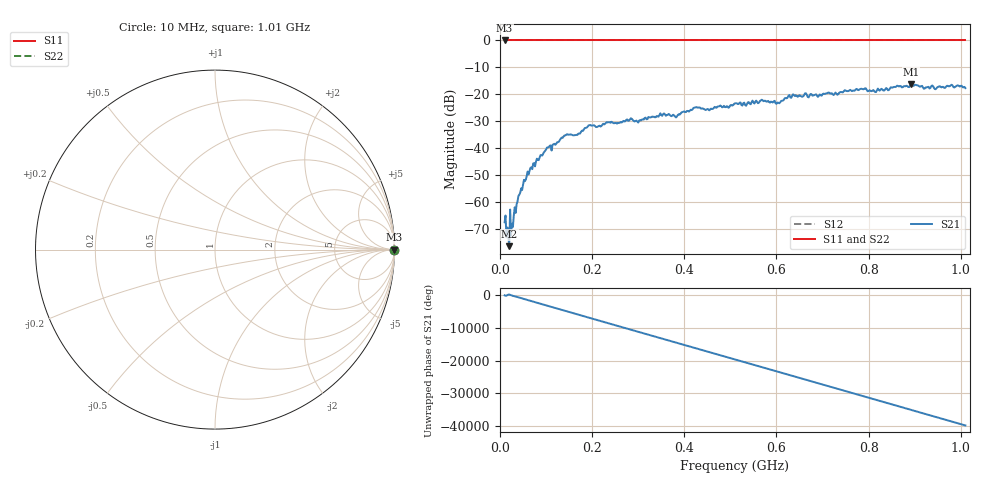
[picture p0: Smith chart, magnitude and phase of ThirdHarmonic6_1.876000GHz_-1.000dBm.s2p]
! 8/16/2025 10:40:22 PM
! C:\ANRITSUVNA\TEMP\TEMP.S2P
! CHANNEL.1
! TR.MEASUREMENT
! RAW.DATA
! RF.CORRECTION.OFF
! AVERAGING.OFF
! IF.BANDWIDTH: 5KHZ
! SWEEPTYPE:  FREQ.SWEEP(Linear)
! Reference Plane Port Info
! PORT:  PORT1  PORT2
! DISTANCE:  0  m  0  m
! TIME:  0  s  0  s
! PHASE.OFFSET:  0  deg.  0  deg.
! LOSS:  0  dB  0  dB
! REF.LOSS:  0  dB  0  dB
! REF.FREQ:  0  Hz  0  Hz
! Power Info
! POWER:  -20  dBm  -20  dBm
! EFF.POWER:  -20  dBm  -20  dBm
! SOURCE.ATTEN:  0  dB  0  dB
! TEST.ATTEN:  0  dB  0  dB
# GHZ S RI R 50.0
! FREQ.GHZ  S11RE  S11IM  S21RE  S21IM  S12RE  S12IM  S22RE  S22IM
!; PortSelection: Port_12
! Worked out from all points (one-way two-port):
!   501 points, 10 MHz to 1.01 GHz, reference 50 ohm
!   highest |S21| = -16.31 dB at 892 MHz (marker M1); lowest = -76.2 dB at 20 MHz (marker M2)
!   lowest |S11| = 0.0 dB at 10 MHz (marker M3)
!   |S11| at or under -10 dB: nowhere
!   |S22| runs from 0.0 to 0.0 dB; largest |S21 - S12| = 1.1
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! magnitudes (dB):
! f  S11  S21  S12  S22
! 10 MHz  0.0  -67.3  0.0  0.0
! 16 MHz  0.0  -69.3  0.0  0.0
! 20 MHz  0.0  -76.2  0.0  0.0
! 24 MHz  0.0  -72.2  0.0  0.0
! 42 MHz  0.0  -57.1  0.0  0.0
! 70 MHz  0.0  -47.7  0.0  0.0
! 106 MHz  0.0  -39.5  0.0  0.0
! 142 MHz  0.0  -35.2  0.0  0.0
! 178 MHz  0.0  -33.4  0.0  0.0
! 196 MHz  0.0  -31.3  0.0  0.0
! 344 MHz  0.0  -28.2  0.0  0.0
! 382 MHz  0.0  -28.5  0.0  0.0
! 424 MHz  0.0  -24.8  0.0  0.0
! 452 MHz  0.0  -25.4  0.0  0.0
! 510 MHz  0.0  -23.3  0.0  0.0
! 570 MHz  0.0  -22.2  0.0  0.0
! 602 MHz  0.0  -23.0  0.0  0.0
! 638 MHz  0.0  -20.3  0.0  0.0
! 678 MHz  0.0  -20.4  0.0  0.0
! 844 MHz  0.0  -18.4  0.0  0.0
! 892 MHz  0.0  -16.3  0.0  0.0
! 1.01 GHz  0.0  -17.7  0.0  0.0
